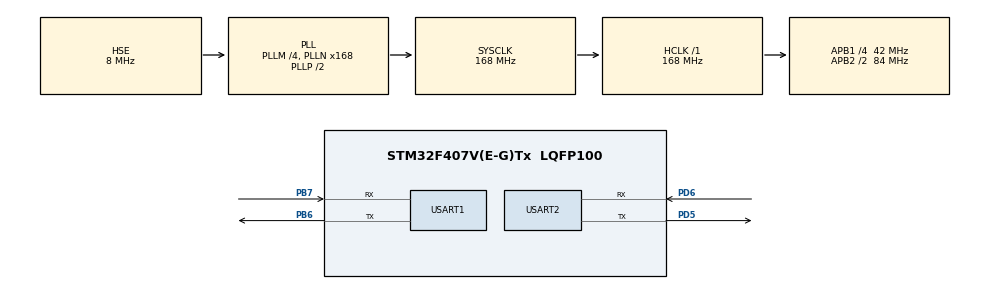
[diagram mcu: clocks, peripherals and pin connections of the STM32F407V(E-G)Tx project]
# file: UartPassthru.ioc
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Dma.Request0=USART1_RX
Dma.Request1=USART1_TX
Dma.Request2=USART2_RX
Dma.Request3=USART2_TX
Dma.USART1_RX.0.Direction=DMA_PERIPH_TO_MEMORY
Dma.USART1_RX.0.FIFOMode=DMA_FIFOMODE_DISABLE
Dma.USART1_RX.0.Instance=DMA2_Stream2
Dma.USART1_RX.0.MemDataAlignment=DMA_MDATAALIGN_BYTE
Dma.USART1_RX.0.MemInc=DMA_MINC_ENABLE
Dma.USART1_RX.0.Mode=DMA_NORMAL
Dma.USART1_RX.0.PeriphDataAlignment=DMA_PDATAALIGN_BYTE
Dma.USART1_RX.0.PeriphInc=DMA_PINC_DISABLE
Dma.USART1_RX.0.Priority=DMA_PRIORITY_LOW
Dma.USART1_TX.1.Direction=DMA_MEMORY_TO_PERIPH
Dma.USART1_TX.1.FIFOMode=DMA_FIFOMODE_DISABLE
Dma.USART1_TX.1.Instance=DMA2_Stream7
Dma.USART1_TX.1.MemDataAlignment=DMA_MDATAALIGN_BYTE
Dma.USART1_TX.1.MemInc=DMA_MINC_ENABLE
Dma.USART1_TX.1.Mode=DMA_NORMAL
Dma.USART1_TX.1.PeriphDataAlignment=DMA_PDATAALIGN_BYTE
Dma.USART1_TX.1.PeriphInc=DMA_PINC_DISABLE
Dma.USART1_TX.1.Priority=DMA_PRIORITY_LOW
Dma.USART2_RX.2.Direction=DMA_PERIPH_TO_MEMORY
Dma.USART2_RX.2.FIFOMode=DMA_FIFOMODE_DISABLE
Dma.USART2_RX.2.Instance=DMA1_Stream5
Dma.USART2_RX.2.MemDataAlignment=DMA_MDATAALIGN_BYTE
Dma.USART2_RX.2.MemInc=DMA_MINC_ENABLE
Dma.USART2_RX.2.Mode=DMA_NORMAL
Dma.USART2_RX.2.PeriphDataAlignment=DMA_PDATAALIGN_BYTE
Dma.USART2_RX.2.PeriphInc=DMA_PINC_DISABLE
Dma.USART2_RX.2.Priority=DMA_PRIORITY_LOW
Dma.USART2_TX.3.Direction=DMA_MEMORY_TO_PERIPH
Dma.USART2_TX.3.FIFOMode=DMA_FIFOMODE_DISABLE
Dma.USART2_TX.3.Instance=DMA1_Stream6
Dma.USART2_TX.3.MemDataAlignment=DMA_MDATAALIGN_BYTE
Dma.USART2_TX.3.MemInc=DMA_MINC_ENABLE
Dma.USART2_TX.3.Mode=DMA_NORMAL
Dma.USART2_TX.3.PeriphDataAlignment=DMA_PDATAALIGN_BYTE
Dma.USART2_TX.3.PeriphInc=DMA_PINC_DISABLE
Dma.USART2_TX.3.Priority=DMA_PRIORITY_LOW
Mcu.Family=STM32F4
Mcu.Name=STM32F407V(E-G)Tx
Mcu.Package=LQFP100
NVIC.DMA1_Stream5_IRQn=true\:0\:5\:false\:false\:true
NVIC.DMA1_Stream6_IRQn=true\:0\:5\:false\:false\:true
NVIC.DMA2_Stream2_IRQn=true\:0\:5\:false\:false\:true
NVIC.DMA2_Stream7_IRQn=true\:0\:5\:false\:false\:true
NVIC.PriorityGroup=NVIC_PRIORITYGROUP_0
NVIC.USART1_IRQn=true\:0\:5\:true\:false\:true
NVIC.USART2_IRQn=true\:0\:5\:false\:false\:true
PA13.Mode=Trace_Asynchronous_SW
PA13.Signal=SYS_JTMS-SWDIO
PA14.Mode=Trace_Asynchronous_SW
PA14.Signal=SYS_JTCK-SWCLK
PB3.Mode=Trace_Asynchronous_SW
PB3.Signal=SYS_JTDO-SWO
PB6.Mode=Asynchronous
PB6.Signal=USART1_TX
PB7.Mode=Asynchronous
PB7.Signal=USART1_RX
PD5.Mode=Asynchronous
PD5.Signal=USART2_TX
PD6.Mode=Asynchronous
PD6.Signal=USART2_RX
PH0-OSC_IN.Mode=HSE-External-Oscillator
PH0-OSC_IN.Signal=RCC_OSC_IN
PH1-OSC_OUT.Mode=HSE-External-Oscillator
PH1-OSC_OUT.Signal=RCC_OSC_OUT
ProjectManager.HeapSize=0x1000
ProjectManager.StackSize=0x1000
ProjectManager.TargetToolchain=MDK-ARM V5
RCC.48MHZClocksFreq_Value=48000000
RCC.AHBFreq_Value=168000000
RCC.APB1CLKDivider=RCC_HCLK_DIV4
RCC.APB1Freq_Value=42000000
RCC.APB1TimFreq_Value=84000000
RCC.APB2CLKDivider=RCC_HCLK_DIV2
RCC.APB2Freq_Value=84000000
RCC.APB2TimFreq_Value=168000000
RCC.CortexFreq_Value=168000000
RCC.HCLKFreq_Value=168000000
RCC.HSE_VALUE=8000000
RCC.HSI_VALUE=16000000
RCC.LSE_VALUE=32768
RCC.PLLM=4
RCC.PLLN=168
RCC.PLLQ=7
RCC.PLLSourceVirtual=RCC_PLLSOURCE_HSE
RCC.SYSCLKFreq_VALUE=168000000
RCC.SYSCLKSource=RCC_SYSCLKSOURCE_PLLCLK
RCC.VCOOutputFreq_Value=336000000
board=STM32F4DISCOVERY

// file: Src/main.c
/**
  ******************************************************************************
  * File Name          : main.c
  * Description        : Main program body
  ******************************************************************************
  *
  * COPYRIGHT(c) 2016 STMicroelectronics
  *
  * Redistribution and use in source and binary forms, with or without modification,
  * are permitted provided that the following conditions are met:
  *   1. Redistributions of source code must retain the above copyright notice,
  *      this list of conditions and the following disclaimer.
  *   2. Redistributions in binary form must reproduce the above copyright notice,
  *      this list of conditions and the following disclaimer in the documentation
  *      and/or other materials provided with the distribution.
  *   3. Neither the name of STMicroelectronics nor the names of its contributors
  *      may be used to endorse or promote products derived from this software
  *      without specific prior written permission.
  *
  * THIS SOFTWARE IS PROVIDED BY THE COPYRIGHT HOLDERS AND CONTRIBUTORS "AS IS"
  * AND ANY EXPRESS OR IMPLIED WARRANTIES, INCLUDING, BUT NOT LIMITED TO, THE
  * IMPLIED WARRANTIES OF MERCHANTABILITY AND FITNESS FOR A PARTICULAR PURPOSE ARE
  * DISCLAIMED. IN NO EVENT SHALL THE COPYRIGHT HOLDER OR CONTRIBUTORS BE LIABLE
  * FOR ANY DIRECT, INDIRECT, INCIDENTAL, SPECIAL, EXEMPLARY, OR CONSEQUENTIAL
  * DAMAGES (INCLUDING, BUT NOT LIMITED TO, PROCUREMENT OF SUBSTITUTE GOODS OR
  * SERVICES; LOSS OF USE, DATA, OR PROFITS; OR BUSINESS INTERRUPTION) HOWEVER
  * CAUSED AND ON ANY THEORY OF LIABILITY, WHETHER IN CONTRACT, STRICT LIABILITY,
  * OR TORT (INCLUDING NEGLIGENCE OR OTHERWISE) ARISING IN ANY WAY OUT OF THE USE
  * OF THIS SOFTWARE, EVEN IF ADVISED OF THE POSSIBILITY OF SUCH DAMAGE.
  *
  ******************************************************************************
  */
#include "stm32f4xx_hal.h"
#include "dma.h"
#include "usart.h"
#include "gpio.h"

/* USER CODE BEGIN Includes */
void ReadChannel1IncomingAndAddToBuffer(void);
void ConsumeChannel1BufferAndTransmit(void);
void ReadChannel2IncomingAndAddToBuffer(void);
void ConsumeChannel2BufferAndTransmit(void);
/* USER CODE END Includes */

/* USER CODE BEGIN PV */
/* Private variables ---------------------------------------------------------*/

#define USE_DMA

#define BUFFER_SIZE 128

uint8_t channel1IncomingData;
uint8_t channel1IncomingBuffer[BUFFER_SIZE];
uint32_t channel1IncomingBufferWrite = 0;
uint32_t channel1IncomingBufferRead = 0;

uint8_t channel2IncomingData;
uint8_t channel2IncomingBuffer[BUFFER_SIZE];
uint32_t channel2IncomingBufferWrite = 0;
uint32_t channel2IncomingBufferRead = 0;

/* USER CODE END PV */

void SystemClock_Config(void);
void Error_Handler(void);

/* USER CODE BEGIN PFP */
/* Private function prototypes -----------------------------------------------*/

/* USER CODE END PFP */

int main(void)
{

  /* MCU Configuration----------------------------------------------------------*/

  /* Reset of all peripherals, Initializes the Flash interface and the Systick. */
  HAL_Init();

  /* Configure the system clock */
  SystemClock_Config();

  /* Initialize all configured peripherals */
  MX_GPIO_Init();
  MX_DMA_Init();
  MX_USART1_UART_Init();
  MX_USART2_UART_Init();

  /* USER CODE BEGIN 2 */
#ifdef USE_DMA
	HAL_UART_Receive_DMA(&huart1, &channel1IncomingData, 1);
	HAL_UART_Receive_DMA(&huart2, &channel2IncomingData, 1);
#else
	HAL_UART_Receive_IT(&huart1, &channel1IncomingData, 1);
	HAL_UART_Receive_IT(&huart2, &channel2IncomingData, 1);
#endif
  /* USER CODE END 2 */

  /* Infinite loop */
  while (1)
  {

  /* USER CODE BEGIN 3 */

	ConsumeChannel1BufferAndTransmit();
	ConsumeChannel2BufferAndTransmit();

  }
  /* USER CODE END 3 */

}

/** System Clock Configuration
*/
void SystemClock_Config(void)
{

  RCC_OscInitTypeDef RCC_OscInitStruct;
  RCC_ClkInitTypeDef RCC_ClkInitStruct;

  __HAL_RCC_PWR_CLK_ENABLE();

  __HAL_PWR_VOLTAGESCALING_CONFIG(PWR_REGULATOR_VOLTAGE_SCALE1);

  RCC_OscInitStruct.OscillatorType = RCC_OSCILLATORTYPE_HSE;
  RCC_OscInitStruct.HSEState = RCC_HSE_ON;
  RCC_OscInitStruct.PLL.PLLState = RCC_PLL_ON;
  RCC_OscInitStruct.PLL.PLLSource = RCC_PLLSOURCE_HSE;
  RCC_OscInitStruct.PLL.PLLM = 4;
  RCC_OscInitStruct.PLL.PLLN = 168;
  RCC_OscInitStruct.PLL.PLLP = RCC_PLLP_DIV2;
  RCC_OscInitStruct.PLL.PLLQ = 7;
  if (HAL_RCC_OscConfig(&RCC_OscInitStruct) != HAL_OK)
  {
    Error_Handler();
  }

  RCC_ClkInitStruct.ClockType = RCC_CLOCKTYPE_HCLK|RCC_CLOCKTYPE_SYSCLK
                              |RCC_CLOCKTYPE_PCLK1|RCC_CLOCKTYPE_PCLK2;
  RCC_ClkInitStruct.SYSCLKSource = RCC_SYSCLKSOURCE_PLLCLK;
  RCC_ClkInitStruct.AHBCLKDivider = RCC_SYSCLK_DIV1;
  RCC_ClkInitStruct.APB1CLKDivider = RCC_HCLK_DIV4;
  RCC_ClkInitStruct.APB2CLKDivider = RCC_HCLK_DIV2;
  if (HAL_RCC_ClockConfig(&RCC_ClkInitStruct, FLASH_LATENCY_5) != HAL_OK)
  {
    Error_Handler();
  }

  HAL_SYSTICK_Config(HAL_RCC_GetHCLKFreq()/1000);

  HAL_SYSTICK_CLKSourceConfig(SYSTICK_CLKSOURCE_HCLK);

  /* SysTick_IRQn interrupt configuration */
  HAL_NVIC_SetPriority(SysTick_IRQn, 0, 0);
}

/* USER CODE BEGIN 4 */

void HAL_UART_TxCpltCallback(UART_HandleTypeDef *huart)
{
}

void HAL_UART_RxCpltCallback(UART_HandleTypeDef *huart)
{
	if (huart == &huart1)
	{
		ReadChannel1IncomingAndAddToBuffer();
	}
	else if (huart == &huart2)
	{
		ReadChannel2IncomingAndAddToBuffer();
	}
}

void HAL_UART_ErrorCallback(UART_HandleTypeDef *huart)
{
}

void ReadChannel1IncomingAndAddToBuffer(void)
{
	if (channel1IncomingBufferRead == 1 && channel1IncomingBufferWrite == BUFFER_SIZE - 1)
	{
		// overflow
		printf("overflow");
		return;
	}
	else if (channel1IncomingBufferWrite + 1 == channel1IncomingBufferRead)
	{
		// overflow
		printf("overflow");
		return;
	}
	else if (channel1IncomingBufferWrite == 0)
	{
		channel1IncomingBufferWrite = 1;
		channel1IncomingBufferRead = 1;
	}
	else if (channel1IncomingBufferWrite == BUFFER_SIZE - 1)
	{
		channel1IncomingBufferWrite = 1;
	}
	else
	{
		channel1IncomingBufferWrite++;
	}

	channel1IncomingBuffer[channel1IncomingBufferWrite] = channel1IncomingData;
#ifdef USE_DMA
	HAL_UART_Receive_DMA(&huart1, &channel1IncomingData, 1);
#else
	HAL_UART_Receive_IT(&huart1, &channel1IncomingData, 1);
#endif
}

void ConsumeChannel1BufferAndTransmit(void)
{
  static uint32_t latestConsume = 0;
  uint32_t now = HAL_GetTick();

  if (latestConsume != 0)
  {
	  uint32_t diff = now - latestConsume;

	  if (diff <= 1)
	  {
		  return;
	  }
  }

  if (channel1IncomingBufferRead != 0)
  {
	HAL_NVIC_DisableIRQ(USART1_IRQn);
	uint8_t* txPtr = &channel1IncomingBuffer[channel1IncomingBufferRead];
#ifdef USE_DMA
	HAL_UART_Transmit_DMA(&huart2, txPtr, 1);
#else
	HAL_UART_Transmit_IT(&huart2, txPtr, 1);
#endif

	if (channel1IncomingBufferRead == channel1IncomingBufferWrite)
	{
	  channel1IncomingBufferRead = 0;
	  channel1IncomingBufferWrite = 0;
	}
	else if (channel1IncomingBufferRead == BUFFER_SIZE - 1)
	{
	  channel1IncomingBufferRead = 1;
	}
	else
	{
	  channel1IncomingBufferRead++;
	}

	latestConsume = now;

	HAL_NVIC_EnableIRQ(USART1_IRQn);
  }
}

void ReadChannel2IncomingAndAddToBuffer(void)
{
	if (channel2IncomingBufferRead == 1 && channel2IncomingBufferWrite == BUFFER_SIZE - 1)
	{
		// overflow
		printf("overflow");
		return;
	}
	else if (channel2IncomingBufferWrite + 1 == channel2IncomingBufferRead)
	{
		// overflow
		printf("overflow");
		return;
	}
	else if (channel2IncomingBufferWrite == 0)
	{
		channel2IncomingBufferWrite = 1;
		channel2IncomingBufferRead = 1;
	}
	else if (channel2IncomingBufferWrite == BUFFER_SIZE - 1)
	{
		channel2IncomingBufferWrite = 1;
	}
	else
	{
		channel2IncomingBufferWrite++;
	}

	channel2IncomingBuffer[channel2IncomingBufferWrite] = channel2IncomingData;
#ifdef USE_DMA
	HAL_UART_Receive_DMA(&huart2, &channel2IncomingData, 1);
#else
	HAL_UART_Receive_IT(&huart2, &channel2IncomingData, 1);
#endif
}

void ConsumeChannel2BufferAndTransmit(void)
{
  static uint32_t latestConsume = 0;
  uint32_t now = HAL_GetTick();

  if (latestConsume != 0)
  {
	  uint32_t diff = now - latestConsume;

	  if (diff <= 1)
	  {
		  return;
	  }
  }

  if (channel2IncomingBufferRead != 0)
  {
	HAL_NVIC_DisableIRQ(USART2_IRQn);
	uint8_t* txPtr = &channel2IncomingBuffer[channel2IncomingBufferRead];
#ifdef USE_DMA
	HAL_UART_Transmit_DMA(&huart1, txPtr, 1);
#else
	HAL_UART_Transmit_IT(&huart1, txPtr, 1);
#endif

	if (channel2IncomingBufferRead == channel2IncomingBufferWrite)
	{
	  channel2IncomingBufferRead = 0;
	  channel2IncomingBufferWrite = 0;
	}
	else if (channel2IncomingBufferRead == BUFFER_SIZE - 1)
	{
	  channel2IncomingBufferRead = 1;
	}
	else
	{
	  channel2IncomingBufferRead++;
	}

	latestConsume = now;

	HAL_NVIC_EnableIRQ(USART2_IRQn);
  }
}

/* USER CODE END 4 */

void Error_Handler(void)
{
  while(1)
  {
  }
}

/************************ (C) COPYRIGHT STMicroelectronics *****END OF FILE****/
